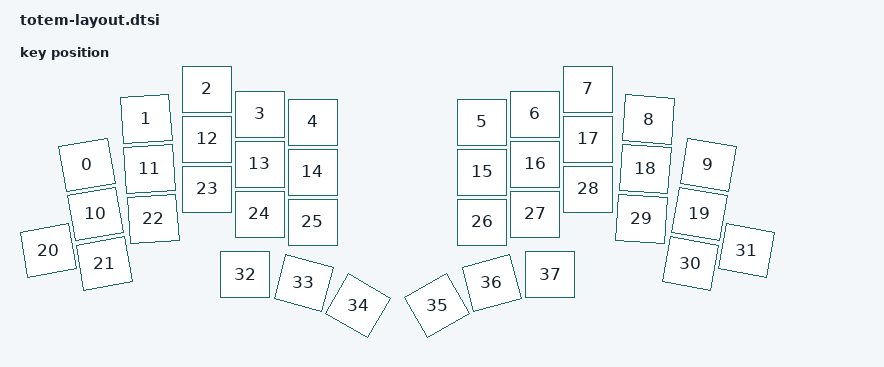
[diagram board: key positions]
#include <physical_layouts.dtsi>

/ {
    totem_layout: totem_layout {
        compatible = "zmk,physical-layout";
        display-name = "Default";

        keys  //                     w   h    x    y     rot    rx    ry
            = <&key_physical_attrs 106 100   78  152 (-1000)   130   202>
            , <&key_physical_attrs 106 100  196   60  (-400)   249   110>
            , <&key_physical_attrs 106 100  318    0       0     0     0>
            , <&key_physical_attrs 106 100  423   50       0     0     0>
            , <&key_physical_attrs 106 100  529   66       0     0     0>
            , <&key_physical_attrs 106 100  868   66       0     0     0>
            , <&key_physical_attrs 106 100  974   50       0     0     0>
            , <&key_physical_attrs 106 100 1080    0       0     0     0>
            , <&key_physical_attrs 106 100 1201   61     400  1254   111>
            , <&key_physical_attrs 106 100 1320  152    1000  1373   202>
            , <&key_physical_attrs 106 100   95  250 (-1000)   148   300>
            , <&key_physical_attrs 106 100  203  160  (-400)   256   210>
            , <&key_physical_attrs 106 100  318  100       0     0     0>
            , <&key_physical_attrs 106 100  423  150       0     0     0>
            , <&key_physical_attrs 106 100  529  166       0     0     0>
            , <&key_physical_attrs 106 100  868  166       0     0     0>
            , <&key_physical_attrs 106 100  974  150       0     0     0>
            , <&key_physical_attrs 106 100 1080  100       0     0     0>
            , <&key_physical_attrs 106 100 1194  160     400  1247   210>
            , <&key_physical_attrs 106 100 1303  250    1000  1356   300>
            , <&key_physical_attrs 106 100    0  323 (-1000)    53   373>
            , <&key_physical_attrs 106 100  112  349 (-1000)   165   399>
            , <&key_physical_attrs 106 100  210  260  (-400)   263   310>
            , <&key_physical_attrs 106 100  318  200       0     0     0>
            , <&key_physical_attrs 106 100  423  250       0     0     0>
            , <&key_physical_attrs 106 100  529  266       0     0     0>
            , <&key_physical_attrs 106 100  868  266       0     0     0>
            , <&key_physical_attrs 106 100  974  250       0     0     0>
            , <&key_physical_attrs 106 100 1080  200       0     0     0>
            , <&key_physical_attrs 106 100 1187  260     400  1240   310>
            , <&key_physical_attrs 106 100 1285  349    1000  1338   399>
            , <&key_physical_attrs 106 100 1397  323    1000  1450   373>
            , <&key_physical_attrs 106 100  394  371       0     0     0>
            , <&key_physical_attrs 106 100  511  388    1500   564   438>
            , <&key_physical_attrs 106 100  620  433    3000   672   483>
            , <&key_physical_attrs 106 100  778  433 (-3000)   831   483>
            , <&key_physical_attrs 106 100  887  388 (-1500)   940   438>
            , <&key_physical_attrs 106 100 1004  371       0     0     0>
            ;
    };
};
